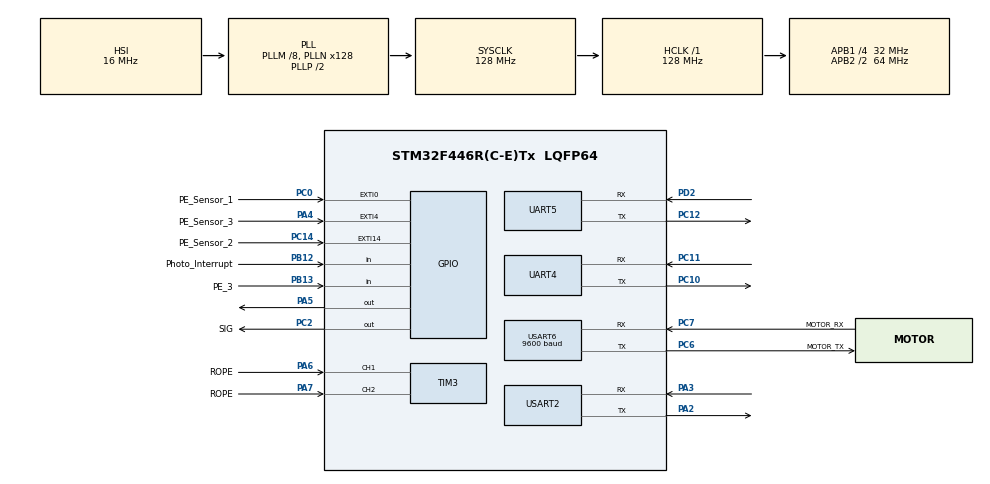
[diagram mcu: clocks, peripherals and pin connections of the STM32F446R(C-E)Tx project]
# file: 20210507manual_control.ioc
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Mcu.Family=STM32F4
RCC.CortexFreq_Value=128000000
PC12.Signal=UART5_TX
PC10.Signal=UART4_TX
TIM3.EncoderMode=TIM_ENCODERMODE_TI12
PC0.GPIO_Label=PE_Sensor_1
PC6.GPIO_Label=MOTOR_TX
PA6.GPIO_Label=ROPE
PB13.GPIO_Label=PE_3
PB13.Signal=GPIO_Input
RCC.SYSCLKSource=RCC_SYSCLKSOURCE_PLLCLK
ProjectManager.StackSize=0x400
NVIC.UART5_IRQn=true\:0\:0\:false\:false\:true\:true\:true
RCC.HCLKFreq_Value=128000000
RCC.APB2TimFreq_Value=128000000
PC7.Signal=USART6_RX
RCC.AHBFreq_Value=128000000
NVIC.EXTI15_10_IRQn=true\:1\:0\:true\:false\:true\:true\:true
PA4.GPIO_PuPd=GPIO_NOPULL
PB12.GPIO_Label=Photo_Interrupt
PA14.Mode=Serial_Wire
SH.S_TIM3_CH1.0=TIM3_CH1,Encoder_Interface
PC0.GPIO_ModeDefaultEXTI=GPIO_MODE_IT_FALLING
Mcu.Package=LQFP64
PA6.Signal=S_TIM3_CH1
USART2.VirtualMode=VM_ASYNC
USART6.VirtualMode=VM_ASYNC
USART6.BaudRate=9600
PC11.Mode=Asynchronous
RCC.APB2CLKDivider=RCC_HCLK_DIV2
RCC.APB1TimFreq_Value=64000000
PC14-OSC32_IN.GPIO_Label=PE_Sensor_2
PA4.GPIO_Label=PE_Sensor_3
PC2.GPIO_Label=SIG
PA3.Signal=USART2_RX
NVIC.UART4_IRQn=true\:0\:0\:false\:false\:true\:true\:true
NVIC.EXTI4_IRQn=true\:1\:0\:true\:false\:true\:true\:true
TIM3.AutoReloadPreload=TIM_AUTORELOAD_PRELOAD_ENABLE
PC11.Signal=UART4_RX
PC2.Signal=GPIO_Output
PC6.Signal=USART6_TX
PC10.Mode=Asynchronous
UART5.VirtualMode=Asynchronous
PC0.Signal=GPXTI0
RCC.APB1CLKDivider=RCC_HCLK_DIV4
UART4.VirtualMode=Asynchronous
PC14-OSC32_IN.Signal=GPXTI14
PA13.Signal=SYS_JTMS-SWDIO
PA3.Mode=Asynchronous
ProjectManager.TargetToolchain=STM32CubeIDE
PC6.Mode=Asynchronous
PA4.GPIO_ModeDefaultEXTI=GPIO_MODE_IT_FALLING
RCC.USBFreq_Value=128000000
PD2.Mode=Asynchronous
PA5.Signal=GPIO_Output
SH.S_TIM3_CH2.0=TIM3_CH2,Encoder_Interface
PC12.Mode=Asynchronous
board=custom
RCC.VCOOutputFreq_Value=256000000
NVIC.TIM3_IRQn=true\:2\:0\:true\:false\:true\:true\:true
PC14-OSC32_IN.GPIO_ModeDefaultEXTI=GPIO_MODE_IT_FALLING
PB13.GPIO_PuPd=GPIO_PULLUP
RCC.APB2Freq_Value=64000000
PA13.Mode=Serial_Wire
Mcu.Name=STM32F446R(C-E)Tx
PA2.Signal=USART2_TX
PC7.GPIO_Label=MOTOR_RX
NVIC.EXTI0_IRQn=true\:1\:0\:true\:false\:true\:true\:true
PA4.Signal=GPXTI4
RCC.SYSCLKFreq_VALUE=128000000
PA7.GPIO_Label=ROPE
PA14.Signal=SYS_JTCK-SWCLK
ProjectManager.HeapSize=0x200
NVIC.PriorityGroup=NVIC_PRIORITYGROUP_4
RCC.PLLM=8
RCC.PLLN=128
PA2.Mode=Asynchronous
PC7.Mode=Asynchronous
PD2.Signal=UART5_RX
PB12.GPIO_PuPd=GPIO_PULLUP
RCC.APB1Freq_Value=32000000
PB12.Signal=GPIO_Input
PA7.Signal=S_TIM3_CH2

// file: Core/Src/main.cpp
/* USER CODE BEGIN Header */
/**
  ******************************************************************************
  * @file           : main.c
  * @brief          : Main program body
  ******************************************************************************
  * @attention
  *
  * <h2><center>&copy; Copyright (c) 2021 STMicroelectronics.
  * All rights reserved.</center></h2>
  *
  * This software component is licensed by ST under BSD 3-Clause license,
  * the "License"; You may not use this file except in compliance with the
  * License. You may obtain a copy of the License at:
  *                        opensource.org/licenses/BSD-3-Clause
  *
  ******************************************************************************
  */
/* USER CODE END Header */
#include "main.h"
#include "tim.h"
#include "usart.h"
#include "gpio.h"

/* USER CODE BEGIN Includes */
#include "Function.hpp"
#include "PWM.hpp"
#include "stdio.h"
#include "hGPIO.hpp"
#include "LED.hpp"
#include "Controller.hpp"
#include "Rope.hpp"
#include <string>
#include "Debug.hpp"
#include <cstring>
#include "math.h"
#include "Jump.hpp"
/* USER CODE END Includes */

void SystemClock_Config(void);

/* USER CODE BEGIN 0 */
void HAL_UART_RxCpltCallback( UART_HandleTypeDef* UartHandle )
{

	if( UartHandle == &huart4 )
	{
		HAL_UART_Receive_IT(&huart4, (uint8_t*)Controller::controller_Rxdata, sizeof(Controller::controller_Rxdata));

		Controller* controller = new Controller();
		controller -> identify();
		delete controller;

	}
	else if( UartHandle == &huart5 )//data from B
	{

		HAL_GPIO_WritePin( GPIOB, GPIO_PIN_15, GPIO_PIN_SET );

		HAL_UART_Receive_IT(&huart5, (uint8_t*)Controller::controller_Rxdata, sizeof(Controller::controller_Rxdata));

		Controller* controller = new Controller();
		controller -> identify();
		delete controller;

	}

}

void HAL_GPIO_EXTI_Callback( uint16_t GPIO_Pin )
{
	HGPIO* hgpio = new HGPIO();
	hgpio -> identify( GPIO_Pin );
	delete hgpio;

}

void HAL_TIM_PeriodElapsedCallback( TIM_HandleTypeDef* htim )
{
    if ( htim -> Instance == TIM3 )
    {
        __HAL_TIM_CLEAR_FLAG(&htim3, TIM_IT_UPDATE);
        if(__HAL_TIM_IS_TIM_COUNTING_DOWN(&htim3)) Rope::over_flow_cnt_3--;
        else Rope::over_flow_cnt_3++;
    }

}

/* USER CODE END 0 */

int main(void)
{
  /* USER CODE BEGIN 1 */
  Rope* rope = new Rope();
  Function* function = new Function();
  PWM* pwm = new PWM();
  /* USER CODE END 1 */

  /* MCU Configuration--------------------------------------------------------*/

  /* Reset of all peripherals, Initializes the Flash interface and the Systick. */
  HAL_Init();

  /* Configure the system clock */
  SystemClock_Config();

  /* Initialize all configured peripherals */
  MX_GPIO_Init();
  MX_USART6_UART_Init();
  MX_UART5_Init();
  MX_TIM3_Init();
  MX_USART2_UART_Init();
  MX_UART4_Init();
  /* USER CODE BEGIN 2 */

  HAL_GPIO_WritePin( GPIOB, GPIO_PIN_15, GPIO_PIN_RESET );

  if( ROBOT == E_robot_name::C )
	  HAL_UART_Receive_IT( &huart4, ( uint8_t* )Controller::controller_Rxdata, sizeof( Controller::controller_Rxdata ) );
  else if( ROBOT == E_robot_name::A )
	  HAL_UART_Receive_IT( &huart5, ( uint8_t* )Controller::controller_Rxdata, sizeof( Controller::controller_Rxdata ) );
  else
	  HAL_UART_Receive_IT( &huart4, ( uint8_t* )Controller::controller_Rxdata, sizeof( Controller::controller_Rxdata ) );

  /* USER CODE END 2 */

  /* Infinite loop */
  /* USER CODE BEGIN WHILE */
  while (1)
  {

	  if( Controller::jump_enable == true )
	  {
		Jump* jump = new Jump();
		jump -> jump();
		delete jump;
		Controller::jump_enable = false;
	  }

    /* USER CODE END WHILE */

  }
}

void SystemClock_Config(void)
{
  RCC_OscInitTypeDef RCC_OscInitStruct = {0};
  RCC_ClkInitTypeDef RCC_ClkInitStruct = {0};

  /** Configure the main internal regulator output voltage
  */
  __HAL_RCC_PWR_CLK_ENABLE();
  __HAL_PWR_VOLTAGESCALING_CONFIG(PWR_REGULATOR_VOLTAGE_SCALE2);
  /** Initializes the RCC Oscillators according to the specified parameters
  * in the RCC_OscInitTypeDef structure.
  */
  RCC_OscInitStruct.OscillatorType = RCC_OSCILLATORTYPE_HSI;
  RCC_OscInitStruct.HSIState = RCC_HSI_ON;
  RCC_OscInitStruct.HSICalibrationValue = RCC_HSICALIBRATION_DEFAULT;
  RCC_OscInitStruct.PLL.PLLState = RCC_PLL_ON;
  RCC_OscInitStruct.PLL.PLLSource = RCC_PLLSOURCE_HSI;
  RCC_OscInitStruct.PLL.PLLM = 8;
  RCC_OscInitStruct.PLL.PLLN = 128;
  RCC_OscInitStruct.PLL.PLLP = RCC_PLLP_DIV2;
  RCC_OscInitStruct.PLL.PLLQ = 2;
  RCC_OscInitStruct.PLL.PLLR = 2;
  if (HAL_RCC_OscConfig(&RCC_OscInitStruct) != HAL_OK)
  {
    Error_Handler();
  }
  /** Initializes the CPU, AHB and APB buses clocks
  */
  RCC_ClkInitStruct.ClockType = RCC_CLOCKTYPE_HCLK|RCC_CLOCKTYPE_SYSCLK
                              |RCC_CLOCKTYPE_PCLK1|RCC_CLOCKTYPE_PCLK2;
  RCC_ClkInitStruct.SYSCLKSource = RCC_SYSCLKSOURCE_PLLCLK;
  RCC_ClkInitStruct.AHBCLKDivider = RCC_SYSCLK_DIV1;
  RCC_ClkInitStruct.APB1CLKDivider = RCC_HCLK_DIV4;
  RCC_ClkInitStruct.APB2CLKDivider = RCC_HCLK_DIV2;

  if (HAL_RCC_ClockConfig(&RCC_ClkInitStruct, FLASH_LATENCY_4) != HAL_OK)
  {
    Error_Handler();
  }
}

void Error_Handler(void)
{
  __disable_irq();
  while (1)
  {
  }
}

/************************ (C) COPYRIGHT STMicroelectronics *****END OF FILE****/
